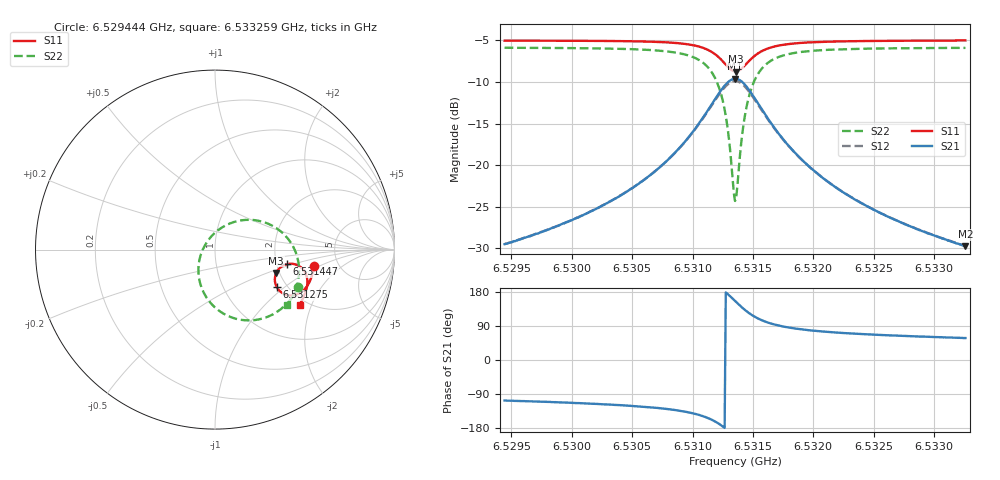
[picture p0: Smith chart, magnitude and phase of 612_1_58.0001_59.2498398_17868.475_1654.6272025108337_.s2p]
#  HZ  S  RI  R  50.00
! Rohde & Schwarz Vector Network Analyzer
! Rohde-Schwarz,ZNB20-2Port,1311601062101988,3.16
! Created: UTC 3/21/2024, 1:17:46 AM
! freq[Hz]  re:S11  im:S11  re:S21  im:S21  re:S12  im:S12  re:S22  im:S22
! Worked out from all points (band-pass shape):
!   401 points, 6.529444 GHz to 6.533259 GHz, reference 50 ohm
!   highest |S21| = -9.62 dB at 6.531352 GHz (marker M1); lowest = -29.8 dB at 6.533259 GHz (marker M2)
!   |S21| within 3 dB of the highest: 6.531163 GHz to 6.531544 GHz (381 kHz wide, 0.00583 % of centre)
!   lowest |S11| = -8.7 dB at 6.531361 GHz (marker M3), VSWR 2.15, Z = 96.1 - j28.9 ohm
!   |S11| at or under -10 dB: nowhere
!   |S22| runs from -24.3 to -5.9 dB; largest |S21 - S12| = 0.014
!   S11 on the Smith chart (normalised r, x): 6.529444 GHz: 3.30, -0.87; 6.531275 GHz: 1.77, -0.88; 6.531447 GHz: 2.27, -0.44; 6.533259 GHz: 1.83, -1.64
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6.5294442e9  0.5533 -0.0901  -0.00969 -0.032  -0.0105 -0.0317  0.464 -0.207
6.5300832e9  0.5405 -0.144  -0.0203 -0.0453  -0.0215 -0.0448  0.4287 -0.2665
6.5304265e9  0.528 -0.1765  -0.0333 -0.0583  -0.0349 -0.0574  0.3946 -0.3069
6.5307222e9  0.509 -0.2093  -0.0578 -0.0768  -0.0601 -0.0751  0.3391 -0.3511
6.5309511e9  0.4776 -0.2394  -0.1042 -0.0967  -0.1071 -0.0929  0.2464 -0.3886
6.5311132e9  0.4283 -0.2557  -0.1809 -0.0987  -0.1826 -0.0909  0.1075 -0.3827
6.5312086e9  0.3792 -0.2444  -0.2561 -0.0622  -0.2537 -0.0514  -0.0157 -0.3069
6.5312754e9  0.344 -0.2089  -0.3058 0.00909  -0.2976 0.0194  -0.0853 -0.1781
6.531304e9  0.3353 -0.1848  -0.3156 0.0534  -0.3047 0.0617  -0.0925 -0.1035
6.5313326e9  0.3339 -0.1575  -0.3123 0.1021  -0.3 0.1075  -0.078 -0.0248
6.5313517e9  0.3378 -0.1392  -0.3021 0.1341  -0.2895 0.1371  -0.0553 0.0254
6.5313612e9  0.3412 -0.1305  -0.2947 0.1493  -0.2821 0.1511  -0.0405 0.0487
6.5313707e9  0.3455 -0.1221  -0.2858 0.1635  -0.2736 0.1643  -0.0234 0.0702
6.5314184e9  0.3772 -0.0906  -0.2261 0.2164  -0.2168 0.2132  0.0833 0.1457
6.531447e9  0.3996 -0.0813  -0.1856 0.2315  -0.1786 0.2274  0.1524 0.1638
6.5315138e9  0.4466 -0.082  -0.1043 0.2305  -0.1007 0.2268  0.288 0.1474
6.5316092e9  0.4868 -0.1064  -0.0358 0.1943  -0.0342 0.1924  0.3978 0.071
6.5317522e9  0.5094 -0.1448  0.00433 0.1425  0.00549 0.1415  0.4558 -0.0327
6.5319907e9  0.5145 -0.1895  0.02 0.0924  0.0212 0.092  0.4677 -0.1356
6.5322863e9  0.5078 -0.2263  0.0219 0.0621  0.0231 0.0618  0.4551 -0.2045
6.5326297e9  0.496 -0.2589  0.0205 0.044  0.0213 0.0437  0.4358 -0.2531
6.5332591e9  0.4708 -0.307  0.0173 0.0276  0.018 0.0273  0.4005 -0.3111
